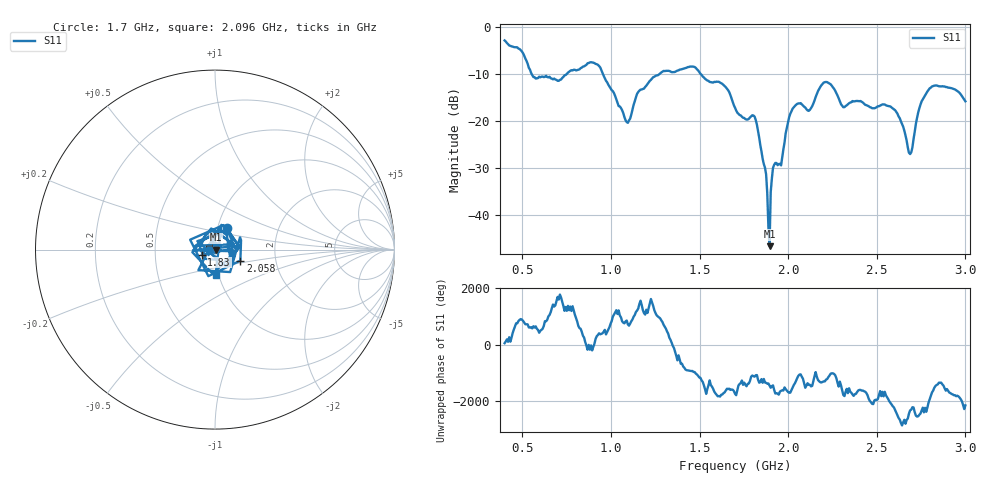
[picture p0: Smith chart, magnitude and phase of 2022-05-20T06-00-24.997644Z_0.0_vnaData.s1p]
!Created with skrf (http://scikit-rf.org).
# Hz S RI R 50.0
!freq ReS11 ImS11
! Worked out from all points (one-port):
!   401 points, 400 MHz to 3 GHz, reference 50 ohm
!   lowest |S11| = -46.7 dB at 1.895 GHz (marker M1), VSWR 1.01, Z = 50.5 - j0.0729 ohm
!   |S11| at or under -10 dB: 553.3 MHz to 749.3 MHz (196 MHz wide, 30.1 % of centre); 955 MHz to 1.272 GHz (317.5 MHz wide, 28.5 % of centre); 1.508 GHz to end of sweep
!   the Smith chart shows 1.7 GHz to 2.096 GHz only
!   S11 on the Smith chart (normalised r, x): 1.7 GHz: 1.11, +0.28; 1.83 GHz: 0.86, -0.05; 2.058 GHz: 1.32, -0.17; 2.096 GHz: 0.97, -0.28
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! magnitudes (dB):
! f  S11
! 400 MHz  -2.8
! 491 MHz  -4.9
! 569 MHz  -10.6
! 725 MHz  -10.8
! 913.5 MHz  -7.8
! 1.05 GHz  -16.9
! 1.095 GHz  -20.4
! 1.161 GHz  -13.5
! 1.375 GHz  -9.2
! 1.622 GHz  -11.9
! 1.7 GHz  -17.1
! 1.804 GHz  -18.8
! 1.83 GHz  -22.1
! 1.882 GHz  -35.4
! 1.895 GHz  -46.7
! 1.921 GHz  -29.3
! 1.96 GHz  -29.5
! 2.025 GHz  -17.4
! 2.058 GHz  -16.2
! 2.096 GHz  -17.1
! 2.213 GHz  -11.7
! 2.35 GHz  -16.1
! 2.591 GHz  -17.3
! 2.675 GHz  -25.6
! 2.695 GHz  -26.7
! 2.747 GHz  -16.5
! 2.805 GHz  -12.9
! 3 GHz  -15.8
